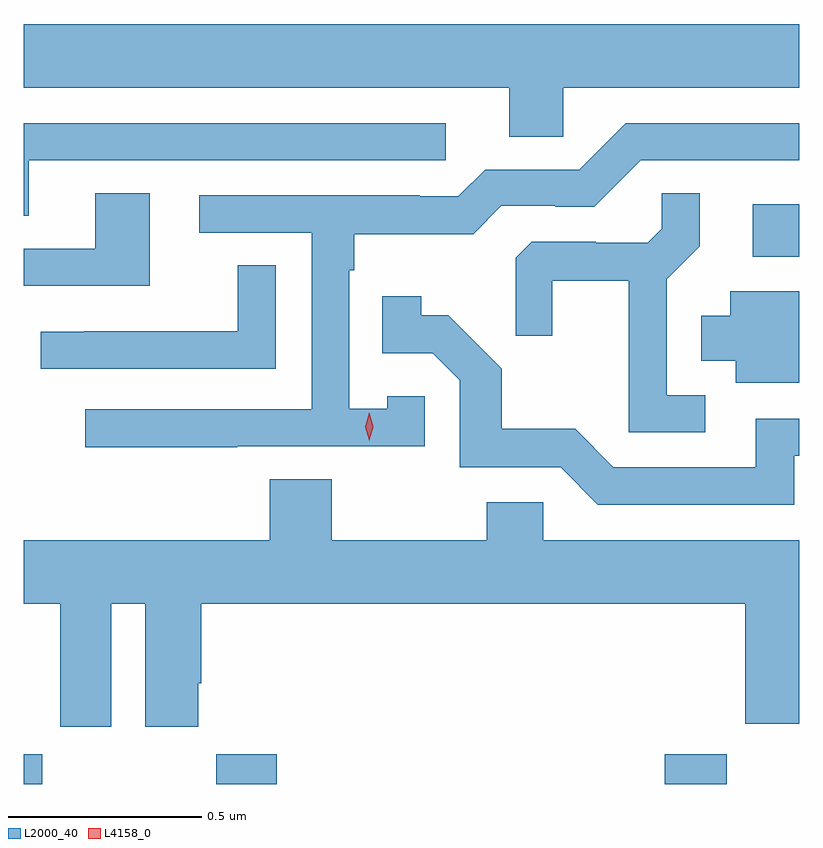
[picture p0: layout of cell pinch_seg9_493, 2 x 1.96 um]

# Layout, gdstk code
import gdstk
lib = gdstk.Library(unit=1e-6, precision=1e-09)
def R(c, l, rs):  # rectangles x0, y0, x1, y1
    for r in rs: c.add(gdstk.rectangle(r[:2], r[2:], *l))
def P(c, l, *ps):  # polygons
    for p in ps: c.add(gdstk.Polygon(p, *l))
L2000_40 = (2000, 40)
L4158_0 = (4158, 0)

pinch_seg9_493 = lib.new_cell('pinch_seg9_493')
R(pinch_seg9_493, L2000_40, [(350.425,1197.287,350.472,1197.364), (350.921,1197.287,351.077,1197.364), (352.079,1197.287,352.239,1197.364), (352.305,1198.647,352.425,1198.783)])
P(pinch_seg9_493, L2000_40, [(351.816,1199.084),(352.425,1199.084),(352.425,1199.248),(350.425,1199.248),(350.425,1199.084),(351.677,1199.084),(351.677,1198.957),(351.816,1198.957)],
  [(350.437,1198.896),(351.514,1198.896),(351.514,1198.992),(350.425,1198.992),(350.425,1198.753),(350.437,1198.753)],
  [(350.975,1198.158),(351.459,1198.158),(351.459,1198.287),(351.363,1198.287),(351.363,1198.255),(351.264,1198.255),(351.264,1198.613),(351.277,1198.613),(351.277,1198.706),(351.584,1198.706),(351.657,1198.779),(351.796,1198.779),(351.796,1198.776),(351.897,1198.776),(352.017,1198.896),(352.425,1198.896),(352.425,1198.992),(351.978,1198.992),(351.858,1198.872),(351.615,1198.872),(351.546,1198.803),(351.446,1198.803),(351.446,1198.806),(350.877,1198.806),(350.877,1198.71),(351.168,1198.71),(351.168,1198.254),(350.583,1198.254),(350.583,1198.156),(350.975,1198.156)],
  [(352.183,1198.29),(352.083,1198.29),(352.083,1198.589),(352.169,1198.675),(352.169,1198.811),(352.071,1198.811),(352.071,1198.72),(352.034,1198.683),(351.9,1198.683),(351.9,1198.686),(351.735,1198.686),(351.694,1198.645),(351.694,1198.443),(351.788,1198.443),(351.788,1198.586),(351.986,1198.586),(351.986,1198.194),(352.183,1198.194)],
  [(350.749,1198.811),(350.609,1198.811),(350.609,1198.668),(350.425,1198.668),(350.425,1198.572),(350.749,1198.572)],
  [(351.075,1198.625),(350.977,1198.625),(350.977,1198.455),(350.581,1198.455),(350.581,1198.454),(350.469,1198.454),(350.469,1198.359),(351.075,1198.359)],
  [(352.425,1198.558),(352.247,1198.558),(352.247,1198.495),(352.172,1198.495),(352.172,1198.379),(352.262,1198.379),(352.262,1198.322),(352.425,1198.322)],
  [(352.412,1198.134),(352.425,1198.134),(352.425,1198.23),(352.313,1198.23),(352.313,1198.104),(351.945,1198.104),(351.847,1198.203),(351.658,1198.203),(351.658,1198.358),(351.52,1198.496),(351.45,1198.496),(351.45,1198.546),(351.349,1198.546),(351.349,1198.398),(351.48,1198.398),(351.549,1198.329),(351.549,1198.104),(351.81,1198.104),(351.906,1198.008),(352.412,1198.008)],
  [(350.65,1197.752),(350.738,1197.752),(350.738,1197.435),(350.875,1197.435),(350.875,1197.547),(350.882,1197.547),(350.882,1197.752),(352.286,1197.752),(352.286,1197.443),(352.425,1197.443),(352.425,1197.916),(351.765,1197.916),(351.765,1198.014),(351.619,1198.014),(351.619,1197.916),(351.219,1197.916),(351.219,1198.073),(351.059,1198.073),(351.059,1197.916),(350.425,1197.916),(350.425,1197.752),(350.519,1197.752),(350.519,1197.435),(350.65,1197.435)])
P(pinch_seg9_493, L4158_0, [(351.316,1198.173),(351.316,1198.174),(351.306,1198.209),(351.316,1198.245),(351.316,1198.245),(351.316,1198.245),(351.326,1198.209),(351.316,1198.174)])

lib.write_gds('pinch_seg9_493.gds')
